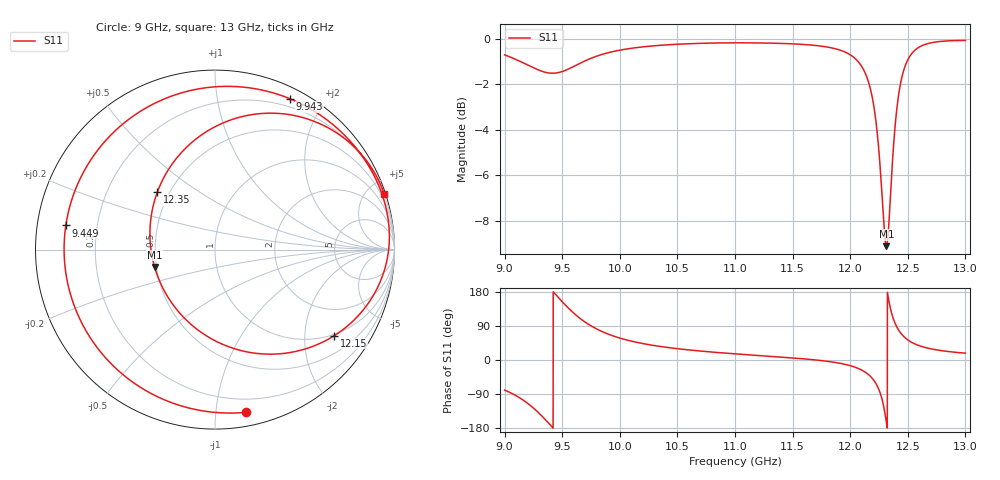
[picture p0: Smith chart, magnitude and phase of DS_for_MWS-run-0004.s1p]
! TOUCHSTONE file generated by CST DESIGN STUDIO
! Date and time: Tue Feb  4 13:25:44 2025
! Project name: C:\Work\MatlabApps\UnitCellOptimizationMatlab\CST\unitcell.cst
! Tree item: Tasks\Sweep1\SPara1\S-Parameters
! Header version: 2024
! Port assignment regex: !\s*Touchstone port\s*([0-9]+)\s*=\s*(CST MWS port|CST DES external port|CST DES block port)\s*(.+)\s* \(\"(.*)\"\)(\s*mode\s*([0-9]+))?.*
! Touchstone port assignment:
! Touchstone port 1 = CST DES external port 1 ("")
# GHz S MA R 50
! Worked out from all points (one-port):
!   4001 points, 9 GHz to 13 GHz, reference 50 ohm
!   lowest |S11| = -9.1 dB at 12.31 GHz (marker M1), VSWR 2.08, Z = 24.4 - j5.37 ohm
!   |S11| at or under -10 dB: nowhere
!   S11 on the Smith chart (normalised r, x): 9 GHz: 0.10, -1.20; 9.449 GHz: 0.09, +0.08; 9.943 GHz: 0.11, +1.61; 12.15 GHz: 0.96, -2.80; 12.35 GHz: 0.43, +0.35; 13 GHz: 0.15, +6.28
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9  0.9229 -79.3
9.133  0.8933 -100.3
9.237  0.8677 -123.3
9.356  0.8445 -158.0
9.449  0.842 170.8
9.5  0.8481 153.8
9.59  0.8678 126.5
9.682  0.8912 103.7
9.811  0.9189 80.1
9.943  0.9386 63.5
10  0.945 57.9
10.214  0.9617 42.6
10.5  0.9738 29.8
11  0.9808 16.3
11.5  0.9757 5.5
12  0.9232 -14.9
12.148  0.8197 -35.8
12.2  0.7246 -51.5
12.248  0.5719 -77.2
12.28  0.437 -107.9
12.314  0.3502 -164.0
12.35  0.454 135.0
12.38  0.6 104.1
12.411  0.7239 83.7
12.5  0.8998 53.0
12.571  0.9491 41.1
12.667  0.9759 31.8
13  0.9926 18.1
